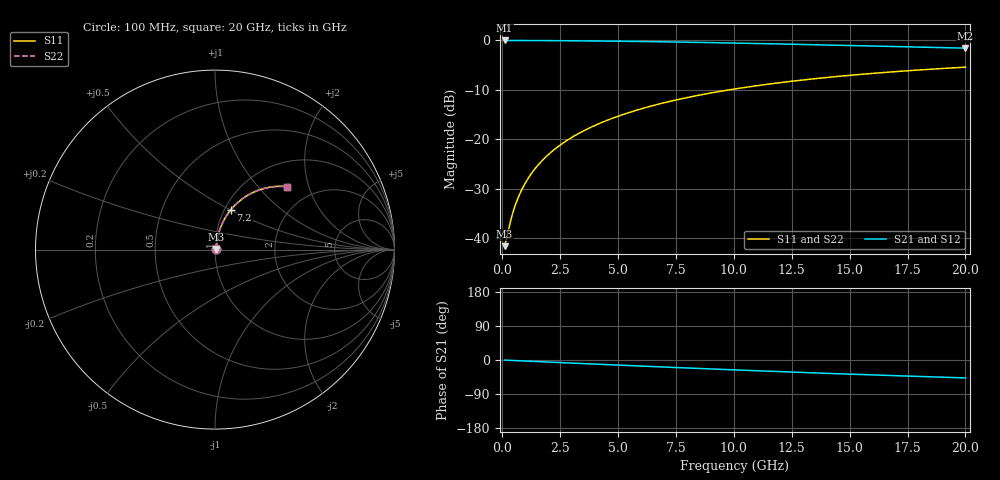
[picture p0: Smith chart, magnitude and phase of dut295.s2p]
! Touchstone file exported from HFSS 2026.1.0
!  File:  C:/ffzhzh/LocalFiles/Ansys_Project_Files/temp_train_TMRDL_295_1782985589_41620.aedt
!  Generated:  05:47:41 PM Jul  2, 2026
!  Design:  TMRDL
!  Project:  temp_train_TMRDL_295_1782985589_41620
! Variables:
!  h_bsmrdl = 2um
!  h_ox = 20um
!  h_rdl = 5um
!  h_sub = 80um
!  h_tmrdl = 2.86um
!  h_tsv = 80um
!  h_via = 3um
!  l_bsmrdl = 300um
!  l_sub = 1027.23um
!  l_tmrdl = 627.23um
!  m_sub = 200um
!  pitch = 43.35um
!  r_tsv = 6um
!  s_tmrdl = 10um
!  w_bsmrdl = 18um
!  w_sub = 500um
!  w_tmrdl = 10.28um
!  x_tsv_center1 = 632.37um
!  x_tsv_center2 = 950.37um
!  x_tsv_center3 = 1587.88um
!  x_tsv_center4 = 1905.88um
!  x_tsv_center5 = 2543.39um
!  x_tsv_center6 = 2861.39um
# GHz S MA R 50.000000
! Terminal data exported
! Port[1] = TM_RDL1_1_T1
! Port[2] = TM_RDL1_1_T2
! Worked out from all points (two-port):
!   200 points, 100 MHz to 20 GHz, reference 50 ohm
!   highest |S21| = -0.07 dB at 100 MHz (marker M1); lowest = -1.6 dB at 20 GHz (marker M2)
!   |S21| within 3 dB of the highest: start of sweep to end of sweep
!   lowest |S11| = -41.6 dB at 100 MHz (marker M3), VSWR 1.02, Z = 50.8 + j0.365 ohm
!   |S11| at or under -10 dB: start of sweep to 9.841 GHz
!   |S22| runs from -41.6 to -5.5 dB; largest |S21 - S12| = 2.7e-15
!   S11 on the Smith chart (normalised r, x): 100 MHz: 1.02, +0.01; 7.2 GHz: 1.07, +0.51; 20 GHz: 1.49, +1.46
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0.1  0.008346 25.5  0.9925 -0.3  0.9925 -0.3  0.008346 25.5
! Gamma 0 0 0 0
! Port Impedance 50 0 50 0
0.3  0.01326 54.0  0.9923 -0.8  0.9923 -0.8  0.01326 54.0
0.4  0.01636 60.7  0.9922 -1.1  0.9922 -1.1  0.01636 60.7
0.5  0.0196 65.1  0.992 -1.4  0.992 -1.4  0.0196 65.1
0.6  0.02291 68.1  0.9919 -1.7  0.9919 -1.7  0.02291 68.1
0.7  0.02626 70.3  0.9917 -1.9  0.9917 -1.9  0.02626 70.3
0.9  0.03301 73.2  0.9913 -2.5  0.9913 -2.5  0.03301 73.2
1.2  0.04319 75.5  0.9907 -3.3  0.9907 -3.3  0.04319 75.5
1.4  0.04999 76.4  0.9903 -3.8  0.9903 -3.8  0.04999 76.4
1.7  0.06021 77.1  0.9896 -4.7  0.9896 -4.7  0.06021 77.1
2.2  0.07724 77.4  0.9882 -6.0  0.9882 -6.0  0.07724 77.4
2.8  0.09762 77.1  0.9862 -7.6  0.9862 -7.6  0.09762 77.0
3.5  0.1212 76.1  0.9834 -9.5  0.9834 -9.5  0.1212 76.1
4.2  0.1445 74.8  0.9799 -11.4  0.9799 -11.4  0.1445 74.8
5  0.1707 73.2  0.9754 -13.5  0.9754 -13.5  0.1707 73.2
6.8  0.2277 69.2  0.9629 -18.1  0.9629 -18.1  0.2277 69.1
7.2  0.2399 68.2  0.9597 -19.1  0.9597 -19.1  0.2399 68.2
8.6  0.2814 65.0  0.9478 -22.6  0.9478 -22.6  0.2814 64.9
10.1  0.3233 61.5  0.9337 -26.3  0.9337 -26.3  0.3233 61.5
13.4  0.406 54.2  0.8998 -33.8  0.8998 -33.8  0.406 54.1
16.7  0.4758 47.4  0.8645 -40.8  0.8645 -40.8  0.4758 47.3
20  0.5337 41.1  0.83 -47.3  0.83 -47.3  0.5337 41.0
